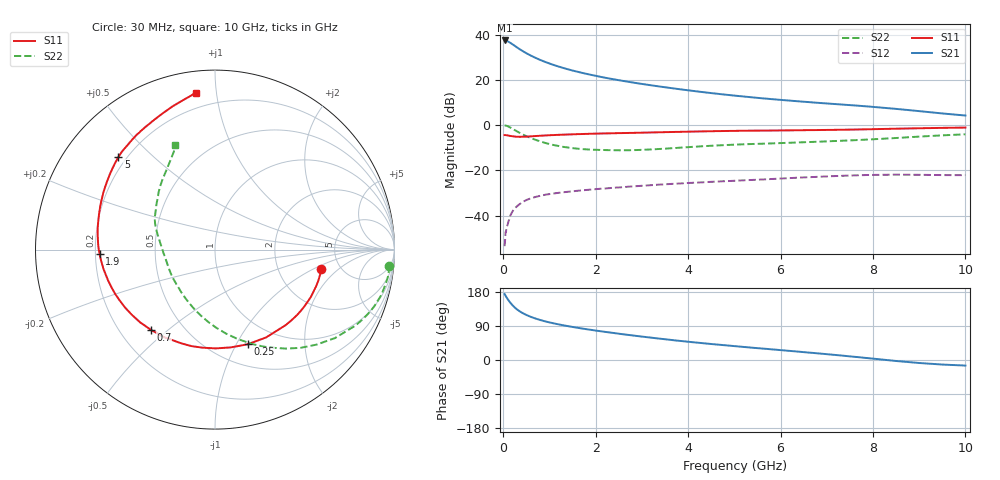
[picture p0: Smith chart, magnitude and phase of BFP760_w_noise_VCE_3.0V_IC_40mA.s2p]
! Infineon Technologies  Discrete & RF Semiconductors
! BFP760
! VCE =  3.0 V,  IC =  40 mA
! Common Emitter S-Parameters:  Nov 2012
# GHz  S  MA  R  50
!  f  S11  S21  S12  S22
! GHz  MAG  ANG  MAG  ANG  MAG  ANG  MAG  ANG
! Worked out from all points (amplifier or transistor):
!   99 points, 30 MHz to 10 GHz, reference 50 ohm
!   highest |S21| = 37.4 dB at 30 MHz (marker M1)
!   |S21| within 3 dB of that: start of sweep to 293.6 MHz
!   unconditionally stable (mu >= 1): 3.925 GHz to end of sweep
!   at 350 MHz: K = 0.32, MSG = 34.3 dB, |S12| = -35.0 dB
!   at 3.5 GHz: K = 0.96, MSG = 21.5 dB, |S12| = -26.2 dB
!   at 10 GHz: K = 1.06, MAG = 11.7 dB, |S12| = -22.1 dB
!   lowest NFmin = 0.92 dB at 900 MHz
!   S11 on the Smith chart (normalised r, x): 30 MHz: 3.60, -1.19; 250 MHz: 0.73, -1.11; 700 MHz: 0.33, -0.44; 1.9 GHz: 0.22, -0.02; 5 GHz: 0.17, +0.39; 10 GHz: 0.11, +0.88
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0.03  0.6019 -10.1  74.43 174.1  0.0021 88.9  0.975 -5.3
0.05  0.6012 -16.3  74.26 169.5  0.0043 93.7  0.9751 -9.2
0.07  0.5964 -23.3  73.19 165.6  0.0054 78.4  0.9638 -13.8
0.13  0.5814 -41.4  68.11 154.9  0.0082 73.4  0.9105 -25.2
0.15  0.5759 -47.1  66.27 151.7  0.0098 71.8  0.8879 -28.6
0.2  0.5662 -59.8  61.28 144.6  0.0123 67.4  0.8305 -36.4
0.25  0.558 -71.0  56.6 138.5  0.0145 62.5  0.7748 -43.1
0.35  0.5504 -89.5  48.14 129.0  0.0177 56.7  0.6791 -54.3
0.45  0.5535 -103.6  41.6 121.9  0.0207 52.4  0.603 -63.6
0.6  0.564 -120.1  34.32 113.7  0.0241 47.5  0.5159 -75.5
0.7  0.5722 -128.6  30.65 109.4  0.0258 44.8  0.472 -82.5
0.9  0.5889 -142.0  25.14 102.2  0.0287 41.6  0.4053 -95.2
1.1  0.6025 -152.2  21.22 96.5  0.0308 39.3  0.3603 -106.3
1.7  0.6344 -172.7  14.35 83.2  0.0359 36.5  0.2946 -132.9
1.9  0.6435 -177.8  12.92 79.6  0.0375 35.9  0.2863 -140.5
2.6  0.6669 167.8  9.451 67.8  0.0424 35.0  0.2774 -162.4
3.4  0.6939 154.6  7.095 56.1  0.0484 33.8  0.2972 177.8
5  0.7453 136.2  4.493 36.7  0.0587 30.4  0.3688 155.1
5.1  0.7478 135.4  4.388 35.6  0.0594 30.2  0.3727 154.1
6.7  0.7755 123.8  3.171 18.7  0.071 25.5  0.4247 139.2
8.5  0.8324 106.5  2.283 -2.6  0.0801 14.3  0.518 121.6
10  0.8813 97.0  1.627 -14.7  0.0781 9.4  0.6257 111.1
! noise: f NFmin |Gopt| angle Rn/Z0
0.9  0.92  0.23  -166  0.11
1.8  0.94  0.24  -157  0.08
2.4  0.99  0.25  -149  0.08
3.5  1.15  0.25  -138  0.18
5.5  1.38  0.32  -79  0.5
8  1.61  0.47  -57  0.52
